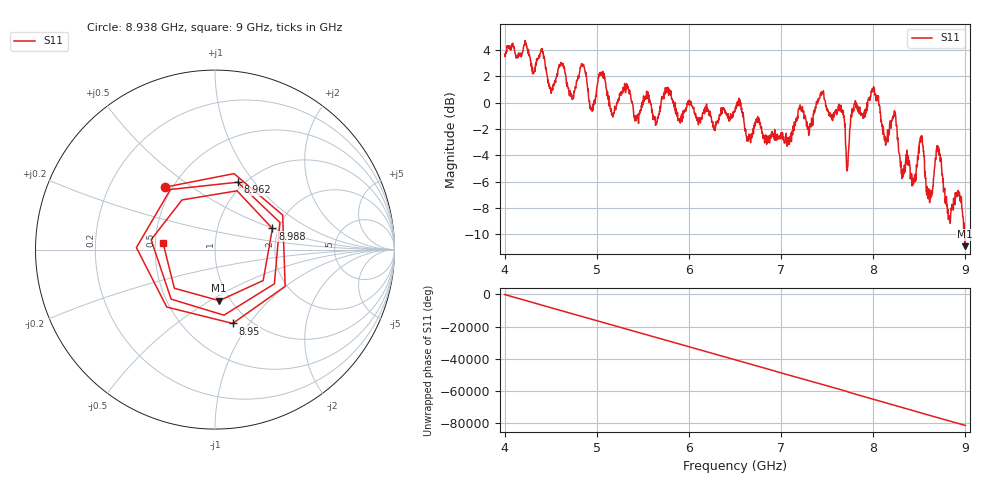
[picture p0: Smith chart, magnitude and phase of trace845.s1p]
! Created with skrf 1.8.0 (http://scikit-rf.org).
# Hz S RI R 50.0
!freq ReS11 ImS11
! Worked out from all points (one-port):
!   1601 points, 4 GHz to 9 GHz, reference 50 ohm
!   lowest |S11| = -10.9 dB at 8.994 GHz (marker M1), VSWR 1.80, Z = 44.4 - j27.5 ohm
!   |S11| at or under -10 dB: 8.991232 GHz to end of sweep
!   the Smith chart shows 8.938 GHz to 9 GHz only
!   S11 on the Smith chart (normalised r, x): 8.938 GHz: 0.46, +0.40; 8.95 GHz: 0.84, -0.84; 8.962 GHz: 0.93, +0.83; 8.988 GHz: 1.86, +0.49; 9 GHz: 0.55, +0.05
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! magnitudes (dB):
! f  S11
! 4 GHz  3.7
! 4.503 GHz  0.9
! 4.625 GHz  2.9
! 4.725 GHz  0.6
! 4.856 GHz  2.9
! 4.941 GHz  -0.5
! 5.047 GHz  2.3
! 5.25 GHz  0.6
! 5.875 GHz  -0.7
! 6.5 GHz  -0.7
! 7.125 GHz  -2.4
! 7.441 GHz  0.8
! 7.65 GHz  -0.2
! 7.716 GHz  -5.2
! 7.75 GHz  -1.8
! 8 GHz  0.9
! 8.375 GHz  -4.0
! 8.441 GHz  -6.1
! 8.525 GHz  -2.8
! 8.619 GHz  -6.8
! 8.709 GHz  -3.4
! 8.816 GHz  -8.9
! 8.938 GHz  -7.0
! 8.95 GHz  -7.5
! 8.962 GHz  -8.0
! 8.988 GHz  -9.3
! 8.994 GHz  -10.9
! 9 GHz  -10.7
